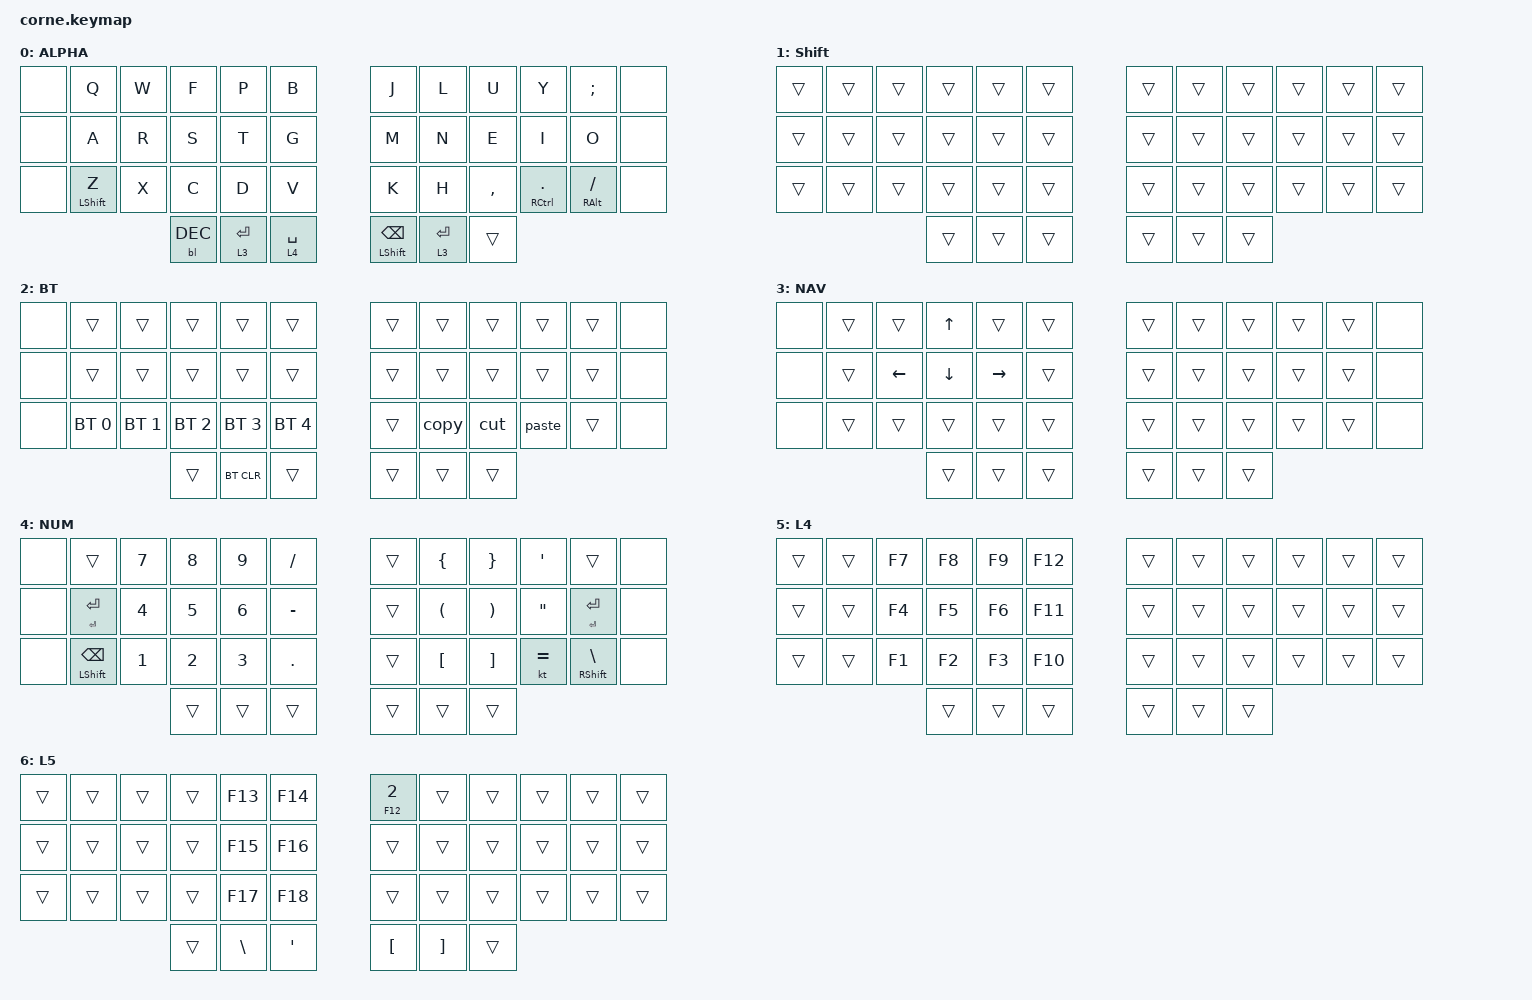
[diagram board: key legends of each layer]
/*
 * Copyright (c) 2020 The ZMK Contributors
 *
 * SPDX-License-Identifier: MIT
 */

#include <behaviors.dtsi>
#include <dt-bindings/zmk/backlight.h>
#include <dt-bindings/zmk/bt.h>
#include <dt-bindings/zmk/keys.h>
#include <dt-bindings/zmk/keys.h>

/ {
    conditional_layers {
        compatible = "zmk,conditional-layers";

        tri_layer {
            if-layers = <1 2>;
            then-layer = <3>;
        };
    };
};

/ {
    behaviors {
        hml: homerow_mods_left {
            compatible = "zmk,behavior-hold-tap";
            label = "HOMEROW_MODS_LEFT_HAND";
            bindings = <&kp>, <&kp>;

            #binding-cells = <2>;
            tapping-term-ms = <280>;
            hold-trigger-key-positions = <6 18 30 39 40 7 8 9 10 11 19 20 21 22 23 31 32 33 34 35 41>;
            quick-tap-ms = <175>;
            require-prior-idle-ms = <150>;
            flavor = "tap-preferred";
        };

        hmr: homerow_mods_right {
            compatible = "zmk,behavior-hold-tap";
            label = "HOMEROW_MODS_RIGHT_HAND";
            bindings = <&kp>, <&kp>;

            #binding-cells = <2>;
            tapping-term-ms = <280>;
            hold-trigger-key-positions = <0 1 2 3 4 5 12 13 14 15 16 17 24 25 26 27 28 29 36 37 38>;
            quick-tap-ms = <175>;
            require-prior-idle-ms = <150>;
            flavor = "tap-preferred";
        };
    };

    combos {
        compatible = "zmk,combos";

        Copy {
            bindings = <&copy>;
            key-positions = <26 27>;
            layers = <0>;
        };

        Paste {
            bindings = <&paste>;
            key-positions = <27 28>;
            layers = <0>;
        };

        Cut {
            bindings = <&cut>;
            key-positions = <28 29>;
            layers = <0>;
        };

        Manoonchai_R {
            bindings = <&mt RIGHT_BRACKET LEFT_BRACKET>;
            key-positions = <19 20>;
            layers = <0>;
        };

        Manoonchai_L {
            bindings = <&mt BACKSLASH APOS>;
            key-positions = <16 15>;
            layers = <0>;
        };

        Manoonchai_L_Shift {
            bindings = <&kp C>;
            key-positions = <16 15>;
            layers = <0>;
        };

        Manoonchai_R_Shift {
            bindings = <&kp D>;
            key-positions = <19 20>;
            layers = <0>;
        };
    };

    macros {
        par: WIN_DESK_LEFT {
            compatible = "zmk,behavior-macro";
            #binding-cells = <0>;
            bindings = <&kp LEFT_PARENTHESIS &kp RIGHT_PARENTHESIS &kp LEFT>;
            label = "WIN_DESK_LEFT";
        };

        brackets: WIN_DESK_RIGHT {
            compatible = "zmk,behavior-macro";
            #binding-cells = <0>;
            bindings = <&kp LEFT_BRACE &kp RIGHT_BRACE &kp LEFT>;
            label = "WIN_DESK_RIGHT";
        };

        cut: cut {
            compatible = "zmk,behavior-macro";
            #binding-cells = <0>;
            bindings = <&kp LS(DEL)>;
            label = "CUT";
        };

        copy: copy {
            compatible = "zmk,behavior-macro";
            #binding-cells = <0>;
            bindings = <&kp LC(INS)>;
            label = "COPY";
        };

        paste: paste {
            compatible = "zmk,behavior-macro";
            #binding-cells = <0>;
            bindings = <&kp LS(INS)>;
            label = "PASTE";
        };

        new_macro: new_macro {
            compatible = "zmk,behavior-macro";
            #binding-cells = <0>;
            bindings = <&none>, <&macro_tap>;

            label = "NEW_MACRO";
        };
    };

    keymap {
        compatible = "zmk,keymap";

        Alpha {
            display-name = "ALPHA";
            bindings = <
&none  &kp Q              &kp W  &kp F       &kp P        &kp B          &kp J                     &kp L        &kp U      &kp Y           &kp SEMICOLON         &none
&none  &kp A              &kp R  &kp S       &kp T        &kp G          &kp M                     &kp N        &kp E      &kp I           &kp O                 &none
&none  &hml LEFT_SHIFT Z  &kp X  &kp C       &kp D        &kp V          &kp K                     &kp H        &kp COMMA  &hmr RCTRL DOT  &hmr RIGHT_ALT SLASH  &none
                                 &bl BL_DEC  &lt 3 ENTER  &lt 4 SPACE    &mt LEFT_SHIFT BACKSPACE  &lt 3 ENTER  &trans
            >;
        };

        Shift {
            bindings = <
&trans  &trans  &trans  &trans  &trans  &trans    &trans  &trans  &trans  &trans  &trans  &trans
&trans  &trans  &trans  &trans  &trans  &trans    &trans  &trans  &trans  &trans  &trans  &trans
&trans  &trans  &trans  &trans  &trans  &trans    &trans  &trans  &trans  &trans  &trans  &trans
                        &trans  &trans  &trans    &trans  &trans  &trans
            >;
        };

        BT {
            display-name = "BT";
            bindings = <
&none  &trans        &trans        &trans        &trans        &trans          &trans  &trans  &trans  &trans  &trans  &none
&none  &trans        &trans        &trans        &trans        &trans          &trans  &trans  &trans  &trans  &trans  &none
&none  &bt BT_SEL 0  &bt BT_SEL 1  &bt BT_SEL 2  &bt BT_SEL 3  &bt BT_SEL 4    &trans  &copy   &cut    &paste  &trans  &none
                                   &trans        &bt BT_CLR    &trans          &trans  &trans  &trans
            >;
        };

        NAV {
            display-name = "NAV";
            bindings = <
&none  &trans  &trans          &kp UP_ARROW    &trans           &trans    &trans  &trans  &trans  &trans  &trans  &none
&none  &trans  &kp LEFT_ARROW  &kp DOWN_ARROW  &kp RIGHT_ARROW  &trans    &trans  &trans  &trans  &trans  &trans  &none
&none  &trans  &trans          &trans          &trans           &trans    &trans  &trans  &trans  &trans  &trans  &none
                               &trans          &trans           &trans    &trans  &trans  &trans
            >;
        };

        NUM {
            display-name = "NUM";
            bindings = <
&none  &trans                    &kp N7        &kp N8        &kp N9        &kp SLASH    &trans  &kp LEFT_BRACE        &kp RIGHT_BRACE        &kp SINGLE_QUOTE  &trans                &none
&none  &mt ENTER ENTER           &kp NUMBER_4  &kp N5        &kp NUMBER_6  &kp MINUS    &trans  &kp LEFT_PARENTHESIS  &kp RIGHT_PARENTHESIS  &kp DQT           &mt ENTER ENTER       &none
&none  &mt LEFT_SHIFT BACKSPACE  &kp NUMBER_1  &kp NUMBER_2  &kp NUMBER_3  &kp DOT      &trans  &kp LEFT_BRACKET      &kp RIGHT_BRACKET      &kt EQUAL         &mt RIGHT_SHIFT BSLH  &none
                                               &trans        &trans        &trans       &trans  &trans                &trans
            >;
        };

        L4 {
            bindings = <
&trans  &trans  &kp F7  &kp F8  &kp F9  &kp F12    &trans  &trans  &trans  &trans  &trans  &trans
&trans  &trans  &kp F4  &kp F5  &kp F6  &kp F11    &trans  &trans  &trans  &trans  &trans  &trans
&trans  &trans  &kp F1  &kp F2  &kp F3  &kp F10    &trans  &trans  &trans  &trans  &trans  &trans
                        &trans  &trans  &trans     &trans  &trans  &trans
            >;
        };

        L5 {
            bindings = <
&trans  &trans  &trans  &trans  &kp F13   &kp F14     &mt F12 N2  &trans    &trans  &trans  &trans  &trans
&trans  &trans  &trans  &trans  &kp F15   &kp F16     &trans      &trans    &trans  &trans  &trans  &trans
&trans  &trans  &trans  &trans  &kp F17   &kp F18     &trans      &trans    &trans  &trans  &trans  &trans
                        &trans  &kp BSLH  &kp APOS    &kp LBKT    &kp RBKT  &trans
            >;
        };
    };
};
